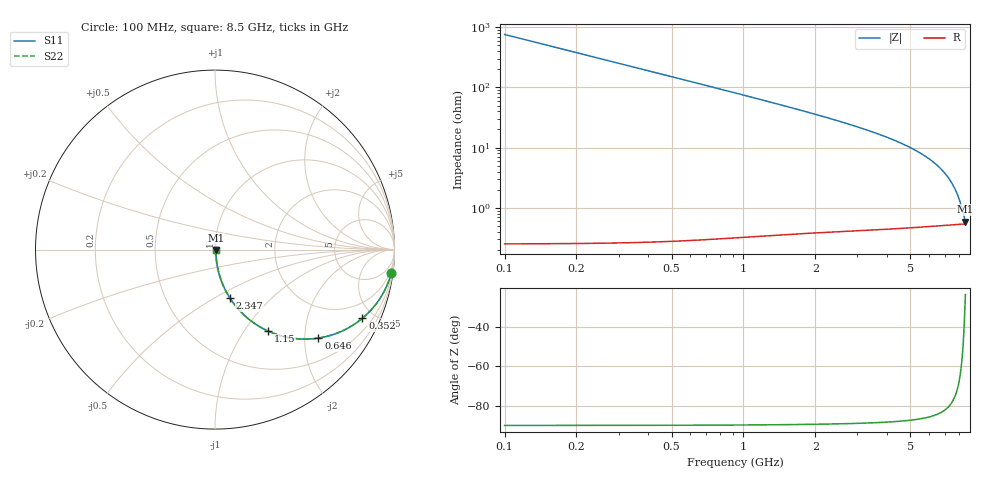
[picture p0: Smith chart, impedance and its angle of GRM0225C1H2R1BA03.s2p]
!Murata Part Number: GRM0225C1H2R1BA03
!These Parameters are Measured in Series Mode Connection
!Data Generated on Mar 30, 2021
!  o--ll--o
!Port1  Port2
!  o------o
!Operation Temp=25[degC], DC Bias Voltage=0[V]
!Freq. Start=100[MHz] Stop=9[GHz] 401[Steps]
# Hz S RI R 50
!Freq.(Hz) S11(Real) S11(Imag) S21(Real) S21(Imag) S12(Real) S12(Imag) S22(Real) S22(Imag)
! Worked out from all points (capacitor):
!   401 points, 100 MHz to 8.5 GHz, reference 50 ohm
!   read as one part in series: C = 2.1 pF near 142 MHz
!   lowest |Z| = 592 mohm at 8.5 GHz (marker M1)
!   S11 on the Smith chart (normalised r, x): 100 MHz: 1, -15; 352 MHz: 1.01, -4.30; 646 MHz: 1.01, -2.33; 1.15 GHz: 1.01, -1.29; 2.347 GHz: 1.01, -0.60; 8.5 GHz: 1.01, -0.00
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1e8  0.9828 -0.1297  0.0172 0.1297  0.0172 0.1297  0.9828 -0.1297
1.84e8  0.9442 -0.2293  0.0558 0.2293  0.0558 0.2293  0.9442 -0.2293
2.26e8  0.918 -0.2739  0.082 0.2739  0.082 0.2739  0.918 -0.2739
2.89e8  0.8725 -0.333  0.1275 0.333  0.1275 0.333  0.8725 -0.333
3.52e8  0.8217 -0.3821  0.1783 0.3821  0.1783 0.3821  0.8217 -0.3821
4.78e8  0.7137 -0.4512  0.2863 0.4512  0.2863 0.4512  0.7137 -0.4512
6.46e8  0.5759 -0.493  0.4241 0.493  0.4241 0.493  0.5759 -0.493
8.98e8  0.4105 -0.49  0.5895 0.49  0.5895 0.49  0.4105 -0.49
1.15e9  0.2957 -0.4537  0.7043 0.4537  0.7043 0.4537  0.2957 -0.4537
1.507e9  0.1932 -0.3912  0.8068 0.3912  0.8068 0.3912  0.1932 -0.3912
1.885e9  0.1298 -0.3311  0.8702 0.3311  0.8702 0.3311  0.1298 -0.3311
2.347e9  0.0847 -0.2718  0.9153 0.2718  0.9153 0.2718  0.0847 -0.2718
2.914e9  0.0536 -0.2164  0.9464 0.2164  0.9464 0.2164  0.0536 -0.2164
4.3e9  0.0213 -0.1283  0.9787 0.1283  0.9787 0.1283  0.0213 -0.1283
5.707e9  0.0102 -0.0729  0.9898 0.0729  0.9898 0.0729  0.0102 -0.0729
6.484e9  0.00746 -0.0497  0.9925 0.0497  0.9925 0.0497  0.00746 -0.0497
7.114e9  0.00622 -0.0333  0.9938 0.0333  0.9938 0.0333  0.00622 -0.0333
7.513e9  0.00575 -0.0237  0.9942 0.0237  0.9942 0.0237  0.00575 -0.0237
7.849e9  0.00552 -0.0161  0.9945 0.0161  0.9945 0.0161  0.00552 -0.0161
8.101e9  0.00542 -0.0107  0.9946 0.0107  0.9946 0.0107  0.00542 -0.0107
8.437e9  0.00538 -0.00364  0.9946 0.00364  0.9946 0.00364  0.00538 -0.00364
8.5e9  0.00539 -0.00236  0.9946 0.00236  0.9946 0.00236  0.00539 -0.00236
